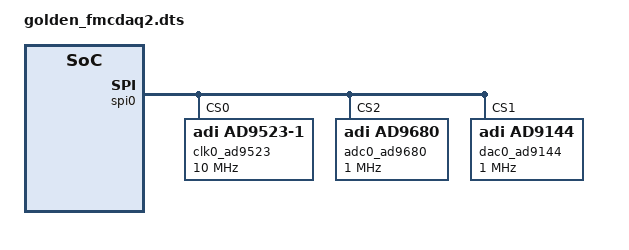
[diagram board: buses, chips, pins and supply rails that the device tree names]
	&axi_ad9680_jesd204_rx {
		/delete-property/ compatible;
		/delete-property/ clocks;
		/delete-property/ clock-names;
		/delete-property/ #clock-cells;
		/delete-property/ adi,octets-per-frame;
		/delete-property/ adi,frames-per-multiframe;
		compatible = "adi,axi-jesd204-rx-1.0";
		clocks = <&zynqmp_clk 71>, <&axi_ad9680_adxcvr 1>, <&axi_ad9680_adxcvr 0>;
		clock-names = "s_axi_aclk", "device_clk", "lane_clk";
		#clock-cells = <0>;
		clock-output-names = "jesd_adc_lane_clk";
		jesd204-device;
		#jesd204-cells = <2>;
		/* JESD204 framing: F = octets per frame per lane */
		adi,octets-per-frame = <1>;
		/* JESD204 framing: K = frames per multiframe (subclass 1: 17–256, must be multiple of 4) */
		adi,frames-per-multiframe = <32>;
		jesd204-inputs = <&axi_ad9680_adxcvr 0 0>;
	};
	&axi_ad9144_jesd204_tx {
		/delete-property/ compatible;
		/delete-property/ clocks;
		/delete-property/ clock-names;
		/delete-property/ #clock-cells;
		/delete-property/ adi,octets-per-frame;
		/delete-property/ adi,frames-per-multiframe;
		compatible = "adi,axi-jesd204-tx-1.0";
		clocks = <&zynqmp_clk 71>, <&axi_ad9144_adxcvr 1>, <&axi_ad9144_adxcvr 0>;
		clock-names = "s_axi_aclk", "device_clk", "lane_clk";
		#clock-cells = <0>;
		clock-output-names = "jesd_dac_lane_clk";
		jesd204-device;
		#jesd204-cells = <2>;
		/* JESD204 framing: F = octets per frame per lane */
		adi,octets-per-frame = <1>;
		/* JESD204 framing: K = frames per multiframe (subclass 1: 17–256, must be multiple of 4) */
		adi,frames-per-multiframe = <32>;
		adi,converter-resolution = <14>;
		adi,bits-per-sample = <16>;
		adi,converters-per-device = <2>;
		adi,control-bits-per-sample = <2>;
		jesd204-inputs = <&axi_ad9144_adxcvr 1 0>;
	};
	&spi0 {
		status = "okay";
		#address-cells = <1>;
		#size-cells = <0>;
		clk0_ad9523: ad9523-1@0 {
			compatible = "adi,ad9523-1";
			#address-cells = <1>;
			#size-cells = <0>;
			reg = <0>;
			spi-max-frequency = <10000000>;
			clock-output-names = "ad9523-1_out0", "ad9523-1_out1", "ad9523-1_out2", "ad9523-1_out3", "ad9523-1_out4", "ad9523-1_out5", "ad9523-1_out6", "ad9523-1_out7", "ad9523-1_out8", "ad9523-1_out9", "ad9523-1_out10", "ad9523-1_out11", "ad9523-1_out12", "ad9523-1_out13";
			#clock-cells = <1>;
			adi,vcxo-freq = <125000000>;
			adi,spi-3wire-enable;
			adi,pll1-bypass-enable;
			adi,osc-in-diff-enable;
			adi,pll2-charge-pump-current-nA = <413000>;
			adi,pll2-m1-freq = <1000000000>;
			adi,rpole2 = <0>;
			adi,rzero = <7>;
			adi,cpole1 = <2>;
			ad9523_0_c1:channel@1 {
				reg = <1>;
				adi,extended-name = "DAC_CLK";
				adi,driver-mode = <3>;
				adi,divider-phase = <1>;
				adi,channel-divider = <1>; // 1 GHz
			};
			ad9523_0_c4:channel@4 {
				reg = <4>;
				adi,extended-name = "ADC_CLK_FMC";
				adi,driver-mode = <3>;
				adi,divider-phase = <1>;
				adi,channel-divider = <2>; // 500 MHz
			};
			ad9523_0_c5:channel@5 {
				reg = <5>;
				adi,extended-name = "ADC_SYSREF";
				adi,driver-mode = <3>;
				adi,divider-phase = <1>;
				adi,channel-divider = <128>; // 7.8125 MHz
			};
			ad9523_0_c6:channel@6 {
				reg = <6>;
				adi,extended-name = "CLKD_ADC_SYSREF";
				adi,driver-mode = <3>;
				adi,divider-phase = <1>;
				adi,channel-divider = <128>; // 7.8125 MHz
			};
			ad9523_0_c7:channel@7 {
				reg = <7>;
				adi,extended-name = "CLKD_DAC_SYSREF";
				adi,driver-mode = <3>;
				adi,divider-phase = <1>;
				adi,channel-divider = <128>; // 7.8125 MHz
			};
			ad9523_0_c8:channel@8 {
				reg = <8>;
				adi,extended-name = "DAC_SYSREF";
				adi,driver-mode = <3>;
				adi,divider-phase = <1>;
				adi,channel-divider = <128>; // 7.8125 MHz
			};
			ad9523_0_c9:channel@9 {
				reg = <9>;
				adi,extended-name = "FMC_DAC_REF_CLK";
				adi,driver-mode = <3>;
				adi,divider-phase = <1>;
				adi,channel-divider = <2>; // 500 MHz
			};
			ad9523_0_c13:channel@13 {
				reg = <13>;
				adi,extended-name = "ADC_CLK";
				adi,driver-mode = <3>;
				adi,divider-phase = <1>;
				adi,channel-divider = <1>; // 1 GHz
			};
		};
		adc0_ad9680: ad9680@2 {
			compatible = "adi,ad9680";
			#address-cells = <1>;
			#size-cells = <0>;
			reg = <2>;
			spi-max-frequency = <1000000>;
			clocks = <&axi_ad9680_jesd204_rx>, <&clk0_ad9523 13>, <&clk0_ad9523 5>;
			clock-names = "jesd_adc_clk", "adc_clk", "adc_sysref";
			jesd204-device;
			#jesd204-cells = <2>;
			jesd204-top-device = <0>;
			jesd204-link-ids = <0>;
			jesd204-inputs = <&axi_ad9680_core 0 0>;
			adi,converters-per-device = <2>;
			adi,lanes-per-device = <4>;
			/* JESD204 framing: F = octets per frame per lane */
			adi,octets-per-frame = <1>;
			/* JESD204 framing: K = frames per multiframe (subclass 1: 17–256, must be multiple of 4) */
			adi,frames-per-multiframe = <32>;
			adi,converter-resolution = <14>;
			adi,bits-per-sample = <16>;
			adi,control-bits-per-sample = <2>;
			adi,subclass = <1>;
			adi,sampling-frequency = /bits/ 64 <1000000000>;
			adi,input-clock-divider-ratio = <1>;
			adi,sysref-lmfc-offset = <0>;
			adi,sysref-pos-window-skew = <0>;
			adi,sysref-neg-window-skew = <0>;
			adi,sysref-mode = <1>;
			adi,sysref-nshot-ignore-count = <0>;
		};
		dac0_ad9144: ad9144@1 {
			compatible = "adi,ad9144";
			#address-cells = <1>;
			#size-cells = <0>;
			reg = <1>;
			spi-max-frequency = <1000000>;
			clocks = <&clk0_ad9523 1>;
			clock-names = "dac_clk";
			jesd204-device;
			#jesd204-cells = <2>;
			jesd204-top-device = <1>;
			jesd204-link-ids = <0>;
			jesd204-inputs = <&axi_ad9144_core 1 0>;
			adi,subclass = <1>;
			adi,interpolation = <1>;
		};
	};
	&axi_ad9680_dma {
		/delete-property/ compatible;
		compatible = "adi,axi-dmac-1.00.a";
		#dma-cells = <1>;
		#clock-cells = <0>;
	};
	&axi_ad9680_core {
		/delete-property/ compatible;
		/delete-property/ clocks;
		/delete-property/ clock-names;
		compatible = "adi,axi-ad9680-1.0";
		dmas = <&axi_ad9680_dma 0>;
		dma-names = "rx";
		spibus-connected = <&adc0_ad9680>;
		jesd204-device;
		#jesd204-cells = <2>;
		jesd204-inputs = <&axi_ad9680_jesd204_rx 0 0>;
	};
	&axi_ad9680_adxcvr {
		/delete-property/ compatible;
		/delete-property/ clocks;
		/delete-property/ clock-names;
		/delete-property/ #clock-cells;
		/delete-property/ clock-output-names;
		/delete-property/ adi,sys-clk-select;
		/delete-property/ adi,out-clk-select;
		compatible = "adi,axi-adxcvr-1.0";
		clocks = <&clk0_ad9523 4>, <&clk0_ad9523 4>;
		clock-names = "conv", "div40";
		#clock-cells = <1>;
		clock-output-names = "adc_gt_clk", "rx_out_clk";
		adi,sys-clk-select = <0>;
		adi,out-clk-select = <4>;
		adi,jesd-l = <4>;
		adi,jesd-m = <2>;
		adi,jesd-s = <1>;
		adi,use-lpm-enable;
		jesd204-device;
		#jesd204-cells = <2>;
	};
	&axi_ad9144_dma {
		/delete-property/ compatible;
		compatible = "adi,axi-dmac-1.00.a";
		#dma-cells = <1>;
		#clock-cells = <0>;
	};
	&axi_ad9144_core {
		/delete-property/ compatible;
		/delete-property/ clocks;
		/delete-property/ clock-names;
		compatible = "adi,axi-ad9144-1.0";
		dmas = <&axi_ad9144_dma 0>;
		dma-names = "tx";
		spibus-connected = <&dac0_ad9144>;
		adi,axi-pl-fifo-enable;
		jesd204-device;
		#jesd204-cells = <2>;
		jesd204-inputs = <&axi_ad9144_jesd204_tx 1 0>;
	};
	&axi_ad9144_adxcvr {
		/delete-property/ compatible;
		/delete-property/ clocks;
		/delete-property/ clock-names;
		/delete-property/ #clock-cells;
		/delete-property/ clock-output-names;
		/delete-property/ adi,sys-clk-select;
		/delete-property/ adi,out-clk-select;
		compatible = "adi,axi-adxcvr-1.0";
		clocks = <&clk0_ad9523 9>, <&clk0_ad9523 9>;
		clock-names = "conv", "div40";
		#clock-cells = <1>;
		clock-output-names = "dac_gt_clk", "tx_out_clk";
		adi,sys-clk-select = <3>;
		adi,out-clk-select = <4>;
		adi,jesd-l = <4>;
		adi,jesd-m = <2>;
		adi,jesd-s = <1>;
		adi,use-lpm-enable;
		jesd204-device;
		#jesd204-cells = <2>;
	};
